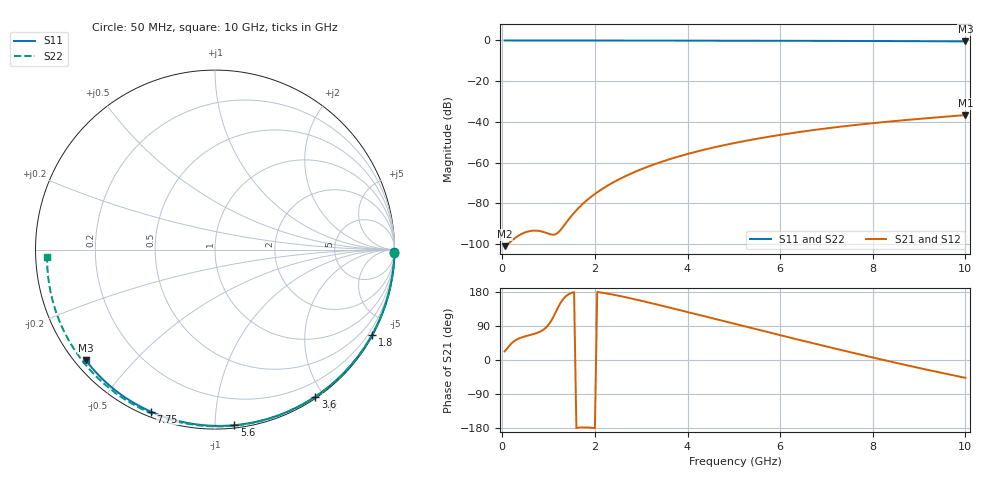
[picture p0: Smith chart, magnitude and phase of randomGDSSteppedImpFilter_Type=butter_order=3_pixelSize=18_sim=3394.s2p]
! freq	dB(S11)	phase(S11)	dB(S12)	phase(S12)
!  dB(S21)	phase(S21)	dB(S22)	phase(S22)
!S-par simulation data
#  GHz  S  DB  R 50
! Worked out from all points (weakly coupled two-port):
!   200 points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, 50 MHz to 10 GHz, reference 50 ohm
!   highest |S21| = -36.67 dB at 10 GHz (marker M1); lowest = -101.0 dB at 50 MHz (marker M2)
!   lowest |S11| = -0.5 dB at 10 GHz (marker M3), VSWR 36.89, Z = 1.54 - j18.4 ohm
!   |S11| at or under -10 dB: nowhere
!   |S22| runs from -0.6 to 0.0 dB; largest |S21 - S12| = 0
!   S11 on the Smith chart (normalised r, x): 50 MHz: open; 1.8 GHz: 0.03, -3.94; 3.6 GHz: 0.02, -1.89; 5.6 GHz: 0.02, -1.12; 7.75 GHz: 0.02, -0.68; 10 GHz: 0.03, -0.37
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0.05  -0.00 -0.8  -101.04 22.7  -101.04 22.7  -0.00 -1.0
0.45  -0.01 -7.2  -94.68 60.9  -94.68 60.9  -0.01 -9.4
0.85  -0.02 -13.6  -93.81 77.1  -93.81 77.1  -0.02 -17.6
1.3  -0.03 -20.7  -91.91 158.4  -91.91 158.4  -0.03 -26.7
1.75  -0.04 -27.7  -80.00 -177.8  -80.00 -177.8  -0.05 -35.8
1.8  -0.04 -28.5  -78.99 -177.9  -78.99 -177.9  -0.05 -36.8
1.95  -0.04 -30.8  -76.23 -179.1  -76.23 -179.1  -0.05 -39.7
2.1  -0.04 -33.1  -73.80 178.6  -73.80 178.6  -0.05 -42.7
2.3  -0.05 -36.2  -70.95 174.6  -70.95 174.6  -0.06 -46.6
2.5  -0.05 -39.3  -68.45 169.9  -68.45 169.9  -0.06 -50.5
2.9  -0.06 -45.3  -64.20 159.2  -64.20 159.2  -0.07 -58.2
3.4  -0.07 -52.7  -59.91 144.7  -59.91 144.7  -0.09 -67.5
3.6  -0.07 -55.7  -58.42 138.7  -58.42 138.7  -0.09 -71.2
4.3  -0.09 -65.8  -53.99 117.3  -53.99 117.3  -0.12 -83.8
5.05  -0.12 -76.3  -50.20 94.3  -50.20 94.3  -0.15 -96.8
5.6  -0.14 -83.7  -47.88 77.6  -47.88 77.6  -0.17 -106.1
6.15  -0.16 -91.1  -45.86 61.0  -45.86 61.0  -0.20 -115.2
6.7  -0.19 -98.2  -44.07 44.5  -44.07 44.5  -0.24 -124.1
7.75  -0.26 -111.6  -41.21 13.8  -41.21 13.8  -0.32 -140.9
8.35  -0.30 -119.0  -39.84 -3.3  -39.84 -3.3  -0.38 -150.4
9.2  -0.38 -129.5  -38.14 -26.4  -38.14 -26.4  -0.47 -164.2
10  -0.47 -139.5  -36.67 -47.1  -36.67 -47.1  -0.57 -177.5
